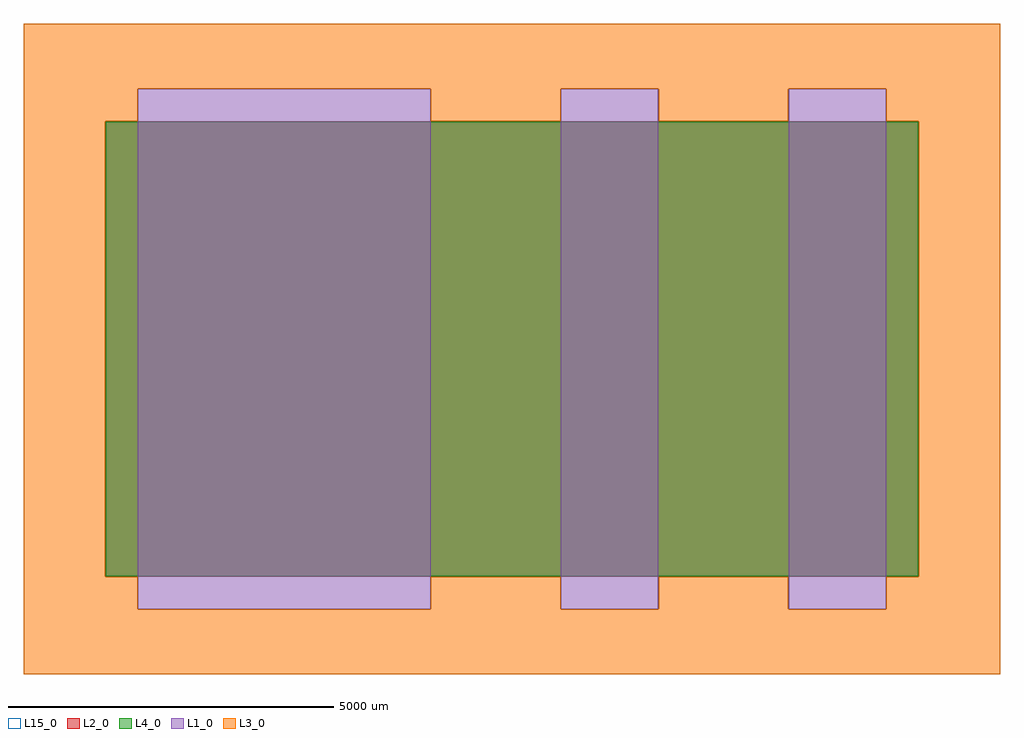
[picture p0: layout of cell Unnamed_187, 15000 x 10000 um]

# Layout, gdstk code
import gdstk
lib = gdstk.Library(unit=1e-6, precision=1e-09)
def R(c, l, rs):  # rectangles x0, y0, x1, y1
    for r in rs: c.add(gdstk.rectangle(r[:2], r[2:], *l))
def P(c, l, *ps):  # polygons
    for p in ps: c.add(gdstk.Polygon(p, *l))
L1_0 = (1, 0)
L2_0 = (2, 0)
L3_0 = (3, 0)
L4_0 = (4, 0)
L15_0 = (15, 0)

rectangle_gdsfactorypco_ = lib.new_cell('rectangle_gdsfactorypco_41ccc8bb')
R(rectangle_gdsfactorypco_, L1_0, [(0,0,4500,8000)])

c_rectangle_gdsfactorypco_ = lib.new_cell('rectangle_gdsfactorypco_c0d9835b')
R(c_rectangle_gdsfactorypco_, L1_0, [(0,0,1500,8000)])

c_rectangle_gdsfactorypco__ = lib.new_cell('rectangle_gdsfactorypco_86c51bfc')
R(c_rectangle_gdsfactorypco__, L2_0, [(0,0,12500,7000)])

c_rectangle_gdsfactorypco___ = lib.new_cell('rectangle_gdsfactorypco_689f7d17')
R(c_rectangle_gdsfactorypco___, L15_0, [(0,0,15000,10000)])

unnamed_187 = lib.new_cell('Unnamed_187')
P(unnamed_187, L3_0, [(-1750,-1000),(-1750,8003),(9997,8003),(9997,7503),(8003,7503),(8003,8003),(6497,8003),(6497,7503),(4503,7503),(4503,8003),(-3,8003),(-3,7503),(-503,7503),(-503,497),(-3,497),(-3,-3),(4503,-3),(4503,497),(6497,497),(6497,-3),(8003,-3),(8003,497),(9997,497),(9997,-3),(11503,-3),(11503,497),(12003,497),(12003,7503),(11503,7503),(11503,8003),(-1750,8003),(-1750,9000),(13250,9000),(13250,-1000)])
R(unnamed_187, L4_0, [(-495,505,11995,7495)])
unnamed_187.add(gdstk.Reference(rectangle_gdsfactorypco_, (0,0)))
unnamed_187.add(gdstk.Reference(c_rectangle_gdsfactorypco_, (6500,0)))
unnamed_187.add(gdstk.Reference(c_rectangle_gdsfactorypco_, (10000,0)))
unnamed_187.add(gdstk.Reference(c_rectangle_gdsfactorypco__, (-500,500)))
unnamed_187.add(gdstk.Reference(c_rectangle_gdsfactorypco___, (-1750,-1000)))

lib.write_gds('Unnamed_187.gds')
